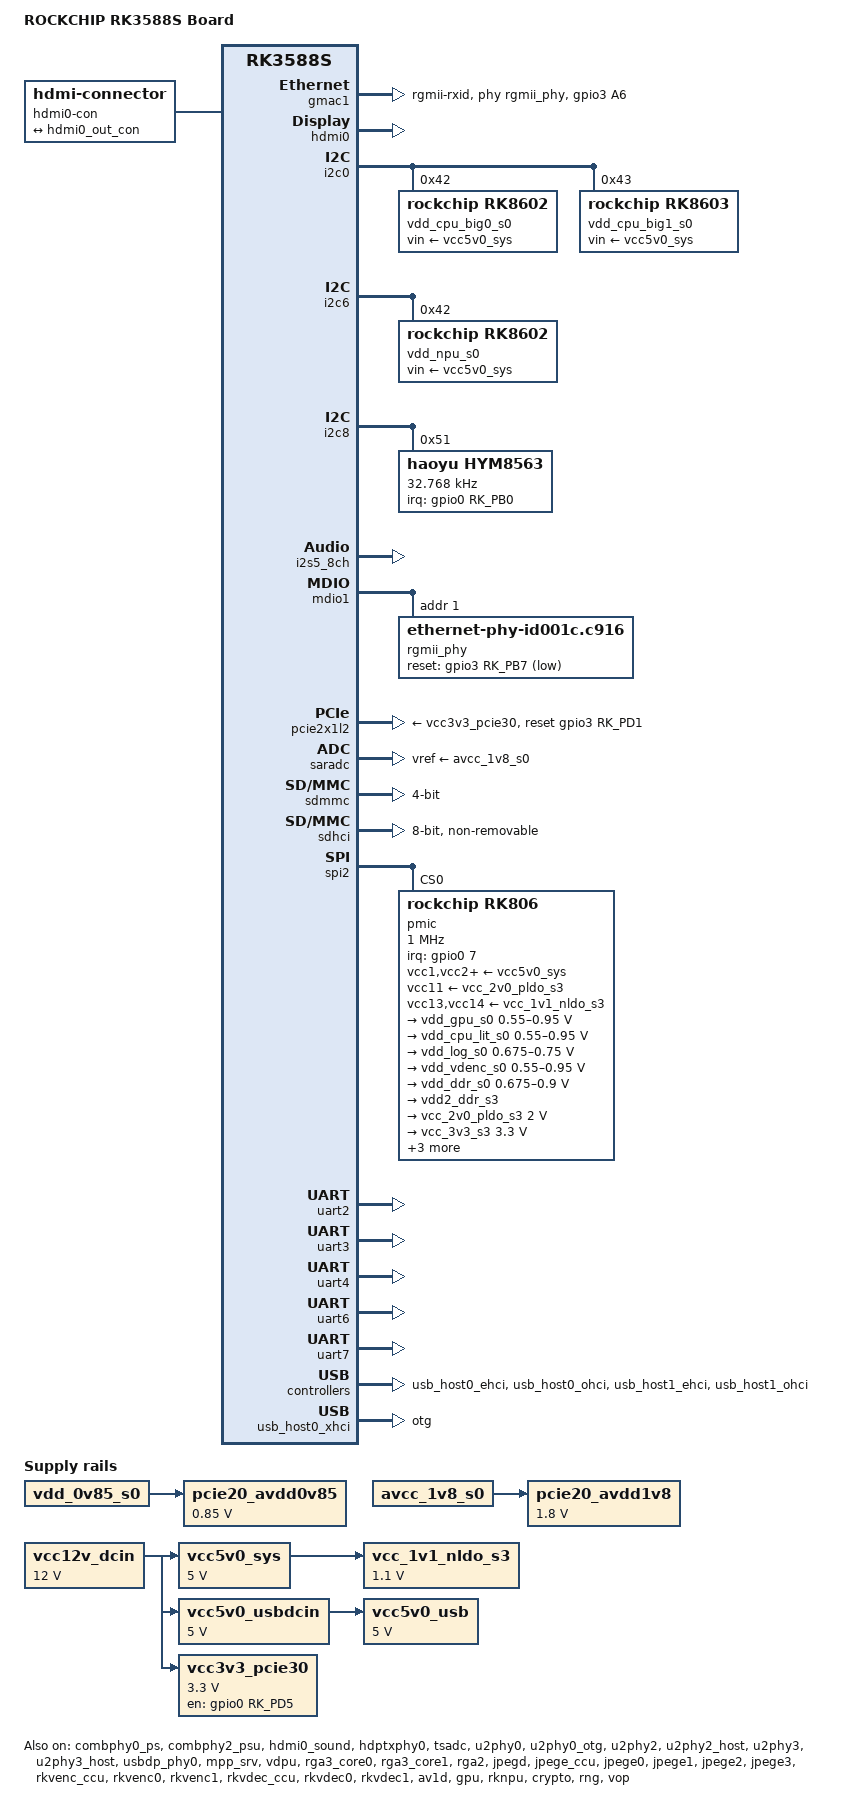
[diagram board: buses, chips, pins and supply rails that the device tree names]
// SPDX-License-Identifier: (GPL-2.0+ OR MIT)
/*
 * Copyright (c) 2021 Rockchip Electronics Co., Ltd.
 *
 */

/dts-v1/;

#include <dt-bindings/gpio/gpio.h>
#include <dt-bindings/input/input.h>
#include <dt-bindings/leds/common.h>
#include <dt-bindings/pinctrl/rockchip.h>
#include <dt-bindings/soc/rockchip,vop2.h>
#include "rk3588s.dtsi"

/ {
	model = "ROCKCHIP RK3588S Board";
	compatible = "rk3588s-zb03-3588s", "rockchip,rk3588s";

	aliases {
		ethernet0 = &gmac1;
		mmc0 = &sdmmc;
		mmc1 = &sdhci;
	};

	adc-keys {
		compatible = "adc-keys";
		io-channels = <&saradc 1>;
		io-channel-names = "buttons";
		keyup-threshold-microvolt = <1800000>;
		poll-interval = <100>;
		status = "disabled";

		button-vol-up {
			label = "Volume Up";
			linux,code = <KEY_VOLUMEUP>;
			press-threshold-microvolt = <17000>;
		};

		button-vol-down {
			label = "Volume Down";
			linux,code = <KEY_VOLUMEDOWN>;
			press-threshold-microvolt = <417000>;
		};

		button-menu {
			label = "Menu";
			linux,code = <KEY_MENU>;
			press-threshold-microvolt = <890000>;
		};

		button-back {
			label = "back";
			linux,code = <KEY_ESC>;
			press-threshold-microvolt = <1235000>;
		};
	};

	chosen {
		stdout-path = "serial2:1500000n8";
	};

	hdmi0-con {
		compatible = "hdmi-connector";
		type = "a";

		port {
			hdmi0_con_in: endpoint {
				remote-endpoint = <&hdmi0_out_con>;
			};
		};
	};

	test-power {
		status = "okay";
	};

	vcc12v_dcin: regulator-vcc12v-dcin {
		compatible = "regulator-fixed";
		regulator-name = "vcc12v_dcin";
		regulator-always-on;
		regulator-boot-on;
		regulator-min-microvolt = <12000000>;
		regulator-max-microvolt = <12000000>;
	};

	/* vcc5v0_sys powers peripherals */
	vcc5v0_sys: regulator-vcc5v0-sys {
		compatible = "regulator-fixed";
		regulator-name = "vcc5v0_sys";
		regulator-always-on;
		regulator-boot-on;
		regulator-min-microvolt = <5000000>;
		regulator-max-microvolt = <5000000>;
		vin-supply = <&vcc12v_dcin>;
	};

	vcc5v0_usbdcin: regulator-vcc5v0-usbdcin {
		compatible = "regulator-fixed";
		regulator-name = "vcc5v0_usbdcin";
		regulator-always-on;
		regulator-boot-on;
		regulator-min-microvolt = <5000000>;
		regulator-max-microvolt = <5000000>;
		vin-supply = <&vcc12v_dcin>;
	};

	vcc5v0_usb: regulator-vcc5v0-usb {
		compatible = "regulator-fixed";
		regulator-name = "vcc5v0_usb";
		regulator-always-on;
		regulator-boot-on;
		regulator-min-microvolt = <5000000>;
		regulator-max-microvolt = <5000000>;
		vin-supply = <&vcc5v0_usbdcin>;
	};

	/* vcc5v0_host: vcc5v0-host {
		compatible = "regulator-fixed";
		regulator-name = "vcc5v0_host";
		regulator-boot-on;
		regulator-always-on;
		regulator-min-microvolt = <5000000>;
		regulator-max-microvolt = <5000000>;
		enable-active-high;
		gpio = <&gpio3 RK_PB2 GPIO_ACTIVE_HIGH>;
		vin-supply = <&vcc5v0_usb>;
		pinctrl-names = "default";
		pinctrl-0 = <&vcc5v0_host_en>;
	};

	vcc5v0_otg: vcc5v0-otg-regulator {
		compatible = "regulator-fixed";
		regulator-name = "vcc5v0_otg";
		regulator-min-microvolt = <5000000>;
		regulator-max-microvolt = <5000000>;
		enable-active-high;
		gpio = <&gpio4 RK_PA7 GPIO_ACTIVE_HIGH>;
		vin-supply = <&vcc5v0_sys>;
		pinctrl-names = "default";
		pinctrl-0 = <&vcc5v0_otg_en>;
	}; */

	pcie20_avdd0v85: pcie20-avdd0v85-regulator {
		compatible = "regulator-fixed";
		regulator-name = "pcie20_avdd0v85";
		regulator-always-on;
		regulator-boot-on;
		regulator-min-microvolt = <850000>;
		regulator-max-microvolt = <850000>;
		vin-supply = <&vdd_0v85_s0>;
	};

	pcie20_avdd1v8: pcie20-avdd1v8-regulator {
		compatible = "regulator-fixed";
		regulator-name = "pcie20_avdd1v8";
		regulator-always-on;
		regulator-boot-on;
		regulator-min-microvolt = <1800000>;
		regulator-max-microvolt = <1800000>;
		vin-supply = <&avcc_1v8_s0>;
	};

	vcc_1v1_nldo_s3: regulator-vcc-1v1-nldo-s3 {
		compatible = "regulator-fixed";
		regulator-name = "vcc-1v1-nldo-s3";
		regulator-always-on;
		regulator-boot-on;
		regulator-min-microvolt = <1100000>;
		regulator-max-microvolt = <1100000>;
		vin-supply = <&vcc5v0_sys>;
	};

	vcc3v3_pcie30: vcc3v3-pcie30-regulator {
		compatible = "regulator-fixed";
		enable-active-high;
		gpios = <&gpio0 RK_PD5 GPIO_ACTIVE_HIGH>;
		regulator-name = "vcc3v3_pcie30";
		regulator-min-microvolt = <3300000>;
		regulator-max-microvolt = <3300000>;
		startup-delay-us = <5000>;
		vin-supply = <&vcc12v_dcin>;
	};
};

&combphy0_ps {
	status = "okay";
};

&combphy2_psu {
	status = "okay";
};

&cpu_l0 {
	cpu-supply = <&vdd_cpu_lit_s0>;
};

&cpu_l1 {
	cpu-supply = <&vdd_cpu_lit_s0>;
};

&cpu_l2 {
	cpu-supply = <&vdd_cpu_lit_s0>;
};

&cpu_l3 {
	cpu-supply = <&vdd_cpu_lit_s0>;
};

&cpu_b0 {
	cpu-supply = <&vdd_cpu_big0_s0>;
};

&cpu_b1 {
	cpu-supply = <&vdd_cpu_big0_s0>;
};

&cpu_b2 {
	cpu-supply = <&vdd_cpu_big1_s0>;
};

&cpu_b3 {
	cpu-supply = <&vdd_cpu_big1_s0>;
};

/* Use rgmii-rxid mode to disable rx delay inside Soc 
 * ethernet@fe1c0000 */
&gmac1 {
	clock_in_out = "input";
	phy-handle = <&rgmii_phy>;
	phy-mode = "rgmii-rxid";
	pinctrl-names = "default";
	pinctrl-0 = <&gmac1_miim
		     &gmac1_tx_bus2
		     &gmac1_rx_bus2
		     &gmac1_rgmii_clk
		     &gmac1_rgmii_bus 
			 &gmac1_clkinout
			 &eth1_pins>;
	tx_delay = <0x44>;
	//local-mac-address = [06 ac b8 46 c3 72]
	status = "okay";
};

&hdmi0 {
	//enable-gpios = <&gpio4 RK_PB1 GPIO_ACTIVE_HIGH>;
	status = "okay";
};

&hdmi0_in {
	hdmi0_in_vp0: endpoint {
		remote-endpoint = <&vp0_out_hdmi0>;
	};
};

&hdmi0_out {
	hdmi0_out_con: endpoint {
		remote-endpoint = <&hdmi0_con_in>;
	};
};

&hdmi0_sound {
	status = "okay";
};

&hdptxphy0 {
	status = "okay";
};

&i2c0 {
	pinctrl-names = "default";
	pinctrl-0 = <&i2c0m2_xfer>;
	status = "okay";

	vdd_cpu_big0_s0: regulator@42 {
		compatible = "rockchip,rk8602";
		reg = <0x42>;
		fcs,suspend-voltage-selector = <1>;
		regulator-name = "vdd_cpu_big0_s0";
		regulator-always-on;
		regulator-boot-on;
		regulator-min-microvolt = <550000>;
		regulator-max-microvolt = <1050000>;
		regulator-ramp-delay = <2300>;
		vin-supply = <&vcc5v0_sys>;

		regulator-state-mem {
			regulator-off-in-suspend;
		};
	};

	vdd_cpu_big1_s0: regulator@43 {
		compatible = "rockchip,rk8603", "rockchip,rk8602";
		reg = <0x43>;
		fcs,suspend-voltage-selector = <1>;
		regulator-name = "vdd_cpu_big1_s0";
		regulator-always-on;
		regulator-boot-on;
		regulator-min-microvolt = <550000>;
		regulator-max-microvolt = <1050000>;
		regulator-ramp-delay = <2300>;
		vin-supply = <&vcc5v0_sys>;

		regulator-state-mem {
			regulator-off-in-suspend;
		};
	};
};

&i2c6 {
	pinctrl-names = "default";
	pinctrl-0 = <&i2c6m0_xfer>;
	status = "okay";

	vdd_npu_s0: regulator@42 {
		compatible = "rockchip,rk8602";
		reg = <0x42>;
		fcs,suspend-voltage-selector = <1>;
		regulator-name = "vdd_npu_s0";
		regulator-always-on;
		regulator-boot-on;
		regulator-min-microvolt = <550000>;
		regulator-max-microvolt = <950000>;
		regulator-ramp-delay = <2300>;
		vin-supply = <&vcc5v0_sys>;

		regulator-state-mem {
			regulator-off-in-suspend;
		};
	};
};

&i2c8 {
	pinctrl-names = "default";
	pinctrl-0 = <&i2c8m2_xfer>;
	status = "okay";

	hym8563: hym8563@51 {
		compatible = "haoyu,hym8563";
		reg = <0x51>;
		#clock-cells = <0>;
		clock-frequency = <32768>;
		clock-output-names = "hym8563";
		interrupt-parent = <&gpio0>;
		interrupts = <RK_PB0 IRQ_TYPE_LEVEL_LOW>;
		pinctrl-names = "default";
		pinctrl-0 = <&hym8563_int>;
		wakeup-source;
	};
};

&i2s0_8ch {
	pinctrl-names = "default";
	pinctrl-0 = <&i2s0_lrck
		     &i2s0_sclk
		     &i2s0_sdi0
		     &i2s0_sdo0>;
	#sound-dai-cells = <0>;
	status = "disabled";
};

&i2s5_8ch {
	#sound-dai-cells = <0>;
	status = "okay";
};

&mdio1 {
	rgmii_phy: ethernet-phy@1 {
		/* RTL8211F */
		compatible = "ethernet-phy-id001c.c916";
		reg = <0x1>;
		pinctrl-names = "default";
		pinctrl-0 = <&rtl8211f_rst>;
		reset-assert-us = <20000>;
		reset-deassert-us = <100000>;
		reset-gpios = <&gpio3 RK_PB7 GPIO_ACTIVE_LOW>;
	};
};

&pcie2x1l1 {
	rockchip,pipe-grf = <&php_grf>;
	status = "disabled";
};

&pcie2x1l2 {
	rockchip,pipe-grf = <&php_grf>;
	reset-gpios = <&gpio3 RK_PD1 GPIO_ACTIVE_HIGH>;
	vpcie3v3-supply = <&vcc3v3_pcie30>;
	status = "okay";
};

&pinctrl {
	hym8563 {
		hym8563_int: hym8563-int {
			rockchip,pins = <0 RK_PB0 RK_FUNC_GPIO &pcfg_pull_up>;
		};
	};

	rtl8211f {
		rtl8211f_rst: rtl8211f-rst {
			rockchip,pins = <3 RK_PB7 RK_FUNC_GPIO &pcfg_pull_none>;
		};
	};

	eth1 {
		eth1_pins: eth1-pins {
			rockchip,pins = <3 RK_PA6 0x01 &pcfg_pull_none>;
		};
	};

	/* usb {
		vcc5v0_host_en: vcc5v0-host-en {
			rockchip,pins = <3 RK_PB2 RK_FUNC_GPIO &pcfg_pull_none>;
		};

		vcc5v0_otg_en: vcc5v0-otg-en {
			rockchip,pins = <4 RK_PA7 RK_FUNC_GPIO &pcfg_pull_none>;
		};
	}; */
};

&saradc {
	vref-supply = <&avcc_1v8_s0>;
	status = "okay";
};

&sata0 {
	status = "disabled";
};

&sata2 {
	status = "disabled";
};

&sdmmc {
	max-frequency = <150000000>;
	no-sdio;
	no-mmc;
	bus-width = <4>;
	cap-mmc-highspeed;
	cap-sd-highspeed;
	disable-wp;
	sd-uhs-sdr104;
	vqmmc-supply = <&vccio_sd_s0>;
	//vmmc-supply = <&vcc_3v3_sd_s0>;
	pinctrl-names = "default";
	pinctrl-0 = <&sdmmc_clk &sdmmc_cmd &sdmmc_det &sdmmc_bus4>;
	status = "okay";
};

&sdio {
	status = "disabled";
};

&sdhci {
	max-frequency = <200000000>;
	bus-width = <8>;
	mmc-hs400-1_8v;
	mmc-hs400-enhanced-strobe;
	no-sdio;
	no-sd;
	non-removable;
	full-pwr-cycle-in-suspend;
	status = "okay";
};

&spi2 {
	status = "okay";
	assigned-clocks = <&cru CLK_SPI2>;
	assigned-clock-rates = <200000000>;
	pinctrl-names = "default";
	pinctrl-0 = <&spi2m2_cs0 &spi2m2_pins>;
	num-cs = <1>;

	pmic@0 {
		compatible = "rockchip,rk806";
		spi-max-frequency = <1000000>;
		reg = <0x0>;

		interrupt-parent = <&gpio0>;
		interrupts = <7 IRQ_TYPE_LEVEL_LOW>;

		pinctrl-names = "default";
		pinctrl-0 = <&pmic_pins>, <&rk806_dvs1_null>,
			    <&rk806_dvs2_null>, <&rk806_dvs3_null>;

		system-power-controller;

		vcc1-supply = <&vcc5v0_sys>;
		vcc2-supply = <&vcc5v0_sys>;
		vcc3-supply = <&vcc5v0_sys>;
		vcc4-supply = <&vcc5v0_sys>;
		vcc5-supply = <&vcc5v0_sys>;
		vcc6-supply = <&vcc5v0_sys>;
		vcc7-supply = <&vcc5v0_sys>;
		vcc8-supply = <&vcc5v0_sys>;
		vcc9-supply = <&vcc5v0_sys>;
		vcc10-supply = <&vcc5v0_sys>;
		vcc11-supply = <&vcc_2v0_pldo_s3>;
		vcc12-supply = <&vcc5v0_sys>;
		vcc13-supply = <&vcc_1v1_nldo_s3>;
		vcc14-supply = <&vcc_1v1_nldo_s3>;
		vcca-supply = <&vcc5v0_sys>;

		gpio-controller;
		#gpio-cells = <2>;

		rk806_dvs1_null: dvs1-null-pins {
			pins = "gpio_pwrctrl1";
			function = "pin_fun0";
		};

		rk806_dvs2_null: dvs2-null-pins {
			pins = "gpio_pwrctrl2";
			function = "pin_fun0";
		};

		rk806_dvs3_null: dvs3-null-pins {
			pins = "gpio_pwrctrl3";
			function = "pin_fun0";
		};

		regulators {
			vdd_gpu_s0: vdd_gpu_mem_s0: dcdc-reg1 {
				regulator-boot-on;
				regulator-min-microvolt = <550000>;
				regulator-max-microvolt = <950000>;
				regulator-ramp-delay = <12500>;
				regulator-name = "vdd_gpu_s0";
				regulator-enable-ramp-delay = <400>;

				regulator-state-mem {
					regulator-off-in-suspend;
				};
			};

			vdd_cpu_lit_s0: vdd_cpu_lit_mem_s0: dcdc-reg2 {
				regulator-always-on;
				regulator-boot-on;
				regulator-min-microvolt = <550000>;
				regulator-max-microvolt = <950000>;
				regulator-ramp-delay = <12500>;
				regulator-name = "vdd_cpu_lit_s0";

				regulator-state-mem {
					regulator-off-in-suspend;
				};
			};

			vdd_log_s0: dcdc-reg3 {
				regulator-always-on;
				regulator-boot-on;
				regulator-min-microvolt = <675000>;
				regulator-max-microvolt = <750000>;
				regulator-ramp-delay = <12500>;
				regulator-name = "vdd_log_s0";

				regulator-state-mem {
					regulator-off-in-suspend;
					regulator-suspend-microvolt = <750000>;
				};
			};

			vdd_vdenc_s0: vdd_vdenc_mem_s0: dcdc-reg4 {
				regulator-always-on;
				regulator-boot-on;
				regulator-min-microvolt = <550000>;
				regulator-max-microvolt = <950000>;
				regulator-ramp-delay = <12500>;
				regulator-name = "vdd_vdenc_s0";

				regulator-state-mem {
					regulator-off-in-suspend;
				};
			};

			vdd_ddr_s0: dcdc-reg5 {
				regulator-always-on;
				regulator-boot-on;
				regulator-min-microvolt = <675000>;
				regulator-max-microvolt = <900000>;
				regulator-ramp-delay = <12500>;
				regulator-name = "vdd_ddr_s0";

				regulator-state-mem {
					regulator-off-in-suspend;
					regulator-suspend-microvolt = <850000>;
				};
			};

			vdd2_ddr_s3: dcdc-reg6 {
				regulator-always-on;
				regulator-boot-on;
				regulator-name = "vdd2_ddr_s3";

				regulator-state-mem {
					regulator-on-in-suspend;
				};
			};

			vcc_2v0_pldo_s3: dcdc-reg7 {
				regulator-always-on;
				regulator-boot-on;
				regulator-min-microvolt = <2000000>;
				regulator-max-microvolt = <2000000>;
				regulator-ramp-delay = <12500>;
				regulator-name = "vdd_2v0_pldo_s3";

				regulator-state-mem {
					regulator-on-in-suspend;
					regulator-suspend-microvolt = <2000000>;
				};
			};

			vcc_3v3_s3: dcdc-reg8 {
				regulator-always-on;
				regulator-boot-on;
				regulator-min-microvolt = <3300000>;
				regulator-max-microvolt = <3300000>;
				regulator-name = "vcc_3v3_s3";

				regulator-state-mem {
					regulator-on-in-suspend;
					regulator-suspend-microvolt = <3300000>;
				};
			};

			vddq_ddr_s0: dcdc-reg9 {
				regulator-always-on;
				regulator-boot-on;
				regulator-name = "vddq_ddr_s0";

				regulator-state-mem {
					regulator-off-in-suspend;
				};
			};

			vcc_1v8_s3: dcdc-reg10 {
				regulator-always-on;
				regulator-boot-on;
				regulator-min-microvolt = <1800000>;
				regulator-max-microvolt = <1800000>;
				regulator-name = "vcc_1v8_s3";

				regulator-state-mem {
					regulator-on-in-suspend;
					regulator-suspend-microvolt = <1800000>;
				};
			};

			avcc_1v8_s0: pldo-reg1 {
				regulator-always-on;
				regulator-boot-on;
				regulator-min-microvolt = <1800000>;
				regulator-max-microvolt = <1800000>;
				regulator-name = "avcc_1v8_s0";

				regulator-state-mem {
					regulator-off-in-suspend;
				};
			};

			vcc_1v8_s0: pldo-reg2 {
				regulator-always-on;
				regulator-boot-on;
				regulator-min-microvolt = <1800000>;
				regulator-max-microvolt = <1800000>;
				regulator-name = "vcc_1v8_s0";

				regulator-state-mem {
					regulator-off-in-suspend;
					regulator-suspend-microvolt = <1800000>;
				};
			};

			avdd_1v2_s0: pldo-reg3 {
				regulator-always-on;
				regulator-boot-on;
				regulator-min-microvolt = <1200000>;
				regulator-max-microvolt = <1200000>;
				regulator-name = "avdd_1v2_s0";

				regulator-state-mem {
					regulator-off-in-suspend;
				};
			};

			vcc_3v3_s0: pldo-reg4 {
				regulator-always-on;
				regulator-boot-on;
				regulator-min-microvolt = <3300000>;
				regulator-max-microvolt = <3300000>;
				regulator-ramp-delay = <12500>;
				regulator-name = "vcc_3v3_s0";

				regulator-state-mem {
					regulator-off-in-suspend;
				};
			};

			vccio_sd_s0: pldo-reg5 {
				regulator-always-on;
				regulator-boot-on;
				regulator-min-microvolt = <1800000>;
				regulator-max-microvolt = <3300000>;
				regulator-ramp-delay = <12500>;
				regulator-name = "vccio_sd_s0";

				regulator-state-mem {
					regulator-off-in-suspend;
				};
			};

			pldo6_s3: pldo-reg6 {
				regulator-always-on;
				regulator-boot-on;
				regulator-min-microvolt = <1800000>;
				regulator-max-microvolt = <1800000>;
				regulator-name = "pldo6_s3";

				regulator-state-mem {
					regulator-on-in-suspend;
					regulator-suspend-microvolt = <1800000>;
				};
			};

			vdd_0v75_s3: nldo-reg1 {
				regulator-always-on;
				regulator-boot-on;
				regulator-min-microvolt = <750000>;
				regulator-max-microvolt = <750000>;
				regulator-name = "vdd_0v75_s3";

				regulator-state-mem {
					regulator-on-in-suspend;
					regulator-suspend-microvolt = <750000>;
				};
			};

			vdd_ddr_pll_s0: nldo-reg2 {
				regulator-always-on;
				regulator-boot-on;
				regulator-min-microvolt = <850000>;
				regulator-max-microvolt = <850000>;
				regulator-name = "vdd_ddr_pll_s0";

				regulator-state-mem {
					regulator-off-in-suspend;
					regulator-suspend-microvolt = <850000>;
				};
			};

			avdd_0v75_s0: nldo-reg3 {
				regulator-always-on;
				regulator-boot-on;
				regulator-min-microvolt = <750000>;
				regulator-max-microvolt = <750000>;
				regulator-name = "avdd_0v75_s0";

				regulator-state-mem {
					regulator-off-in-suspend;
				};
			};

			vdd_0v85_s0: nldo-reg4 {
				regulator-always-on;
				regulator-boot-on;
				regulator-min-microvolt = <850000>;
				regulator-max-microvolt = <850000>;
				regulator-name = "vdd_0v85_s0";

				regulator-state-mem {
					regulator-off-in-suspend;
				};
			};

			vdd_0v75_s0: nldo-reg5 {
				regulator-always-on;
				regulator-boot-on;
				regulator-min-microvolt = <750000>;
				regulator-max-microvolt = <750000>;
				regulator-name = "vdd_0v75_s0";

				regulator-state-mem {
					regulator-off-in-suspend;
				};
			};
		};
	};
};

&tsadc {
	status = "okay";
};

&uart0 {
	status = "disabled";
	pinctrl-names = "default";
	pinctrl-0 = <&uart0m1_xfer>;
};

&uart1 {
	pinctrl-names = "default";
	pinctrl-0 = <&uart1m1_xfer>;
	status = "disabled";
};

&uart2 {
	pinctrl-names = "default";
	pinctrl-0 = <&uart2m0_xfer>;
	status = "okay";
};

&uart3 {
	pinctrl-names = "default";
	pinctrl-0 = <&uart3m2_xfer>;
	status = "okay";
};

&uart4 {
	pinctrl-names = "default";
	pinctrl-0 = <&uart4m2_xfer>;
	status = "okay";
};

&uart6 {
	pinctrl-names = "default";
	pinctrl-0 = <&uart6m1_xfer>;
	status = "okay";
};

&uart7 {
	pinctrl-names = "default";
	pinctrl-0 = <&uart7m2_xfer>;
	status = "okay";
};

&uart8 {
	status = "disabled";
	pinctrl-names = "default";
	pinctrl-0 = <&uart8m1_xfer>;
};

&uart9 {
	status = "disabled";
	pinctrl-names = "default";
	pinctrl-0 = <&uart9m1_xfer>;
};

&u2phy0 {
	status = "okay";
};

&u2phy0_otg {
	//vbus-supply = <&vcc5v0_otg>;
	//phy-supply = <&vcc5v0_host>;
	status = "okay";
};

&u2phy2 {
	status = "okay";
};

&u2phy2_host {
	//phy-supply = <&vcc5v0_host>;
	status = "okay";
};

&u2phy3 {
	status = "okay";
};

&u2phy3_host {
	//phy-supply = <&vcc5v0_host>;
	status = "okay";
};

&usbdp_phy0 {
	status = "okay";
};

&usb_host0_ehci {
	status = "okay";
};

&usb_host0_ohci {
	status = "okay";
};

&usb_host0_xhci {
	extcon = <&u2phy0>;
	dr_mode = "otg";
	status = "okay";
};

&usb_host1_ehci {
	status = "okay";
};

&usb_host1_ohci {
	status = "okay";
};

&usb_host2_xhci {
	status = "disabled";
};

&mpp_srv {
	status = "okay";
};

&vdpu {
	status = "okay";
};

&vdpu_mmu {
	status = "okay";
};

&rga3_core0 {
	status = "okay";
};

&rga3_0_mmu {
	status = "okay";
};

&rga3_core1 {
	status = "okay";
};

&rga3_1_mmu {
	status = "okay";
};

&rga2 {
	status = "okay";
};

&jpegd {
	status = "okay";
};

&jpegd_mmu {
	status = "okay";
};

&jpege_ccu {
	status = "okay";
};

&jpege0 {
	status = "okay";
};

&jpege0_mmu {
	status = "okay";
};

&jpege1 {
	status = "okay";
};

&jpege1_mmu {
	status = "okay";
};

&jpege2 {
	status = "okay";
};

&jpege2_mmu {
	status = "okay";
};

&jpege3 {
	status = "okay";
};

&jpege3_mmu {
	status = "okay";
};

&rkvenc_ccu {
	status = "okay";
};

&rkvenc0 {
	venc-supply = <&vdd_vdenc_s0>;
	mem-supply = <&vdd_vdenc_mem_s0>;
	status = "okay";
};

&rkvenc0_mmu {
	status = "okay";
};

&rkvenc1 {
	venc-supply = <&vdd_vdenc_s0>;
	mem-supply = <&vdd_vdenc_mem_s0>;
	status = "okay";
};

&rkvenc1_mmu {
	status = "okay";
};

&rkvdec_ccu {
	status = "okay";
};

&rkvdec0 {
	status = "okay";
};

&rkvdec0_mmu {
	status = "okay";
};

&rkvdec1 {
	status = "okay";
};

&rkvdec1_mmu {
	status = "okay";
};

&av1d {
	status = "okay";
};

&av1d_mmu {
	status = "okay";
};

&pd_gpu {
	domain-supply = <&vdd_gpu_s0>;
};

&gpu {
	operating-points-v2 = <&gpu_opp_table>;
	mali-supply = <&vdd_gpu_s0>;
	mem-supply = <&vdd_gpu_mem_s0>;
	upthreshold = <60>;
	downdifferential = <30>;
	power-off-delay-ms = <200>;
	status = "okay";
};

&pd_npu {
	domain-supply = <&vdd_npu_s0>;
};

&rknpu {
	rknpu-supply = <&vdd_npu_s0>;
	mem-supply = <&vdd_npu_s0>;
	status = "okay";
};

&rknpu_mmu {
	status = "okay";
};

&crypto {
	status = "okay";
};

&rng {
	status = "okay";
};

/* display generator */
&vop_mmu {
	status = "okay";
};

&vop {
	status = "okay";
};

&vp0 {
	vp0_out_hdmi0: endpoint@ROCKCHIP_VOP2_EP_HDMI0 {
		reg = <ROCKCHIP_VOP2_EP_HDMI0>;
		remote-endpoint = <&hdmi0_in_vp0>;
	};
};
